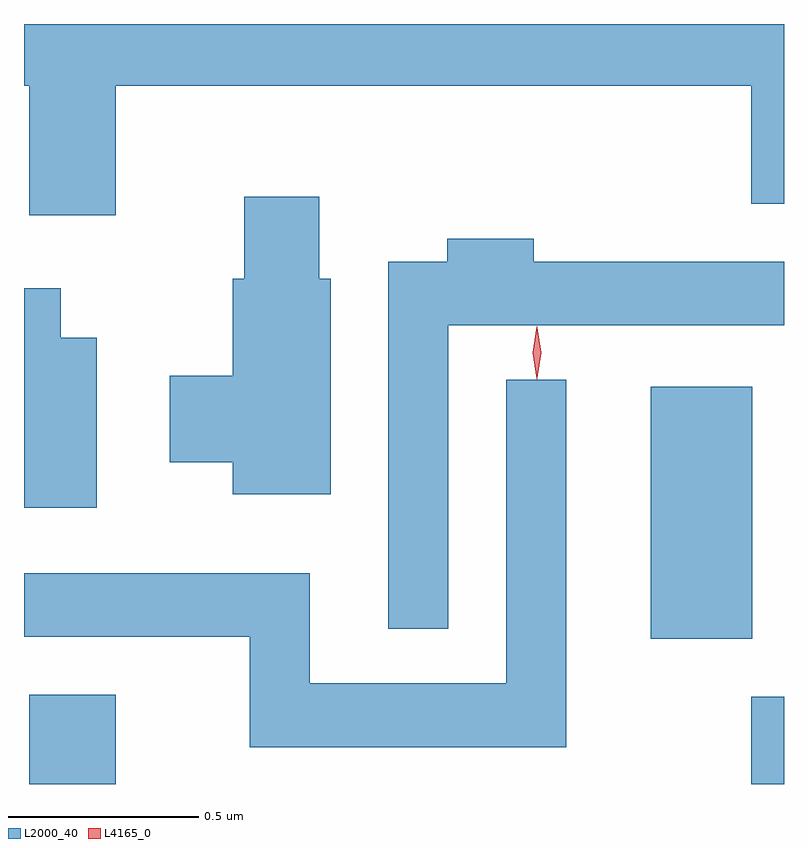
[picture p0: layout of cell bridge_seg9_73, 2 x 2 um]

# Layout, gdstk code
import gdstk
lib = gdstk.Library(unit=1e-6, precision=1e-09)
def R(c, l, rs):  # rectangles x0, y0, x1, y1
    for r in rs: c.add(gdstk.rectangle(r[:2], r[2:], *l))
def P(c, l, *ps):  # polygons
    for p in ps: c.add(gdstk.Polygon(p, *l))
L2000_40 = (2000, 40)
L4165_0 = (4165, 0)

bridge_seg9_73 = lib.new_cell('bridge_seg9_73')
R(bridge_seg9_73, L2000_40, [(1495.671,1945.579,1495.899,1945.814), (1497.571,1945.579,1497.657,1945.809), (1497.306,1945.961,1497.574,1946.624)])
P(bridge_seg9_73, L2000_40, [(1495.899,1947.416),(1497.571,1947.416),(1497.571,1947.106),(1497.657,1947.106),(1497.657,1947.579),(1495.657,1947.579),(1495.657,1947.416),(1495.671,1947.416),(1495.671,1947.076),(1495.899,1947.076)],
  [(1496.464,1946.909),(1496.434,1946.909),(1496.434,1947.124),(1496.236,1947.124),(1496.236,1946.909),(1496.206,1946.909),(1496.206,1946.654),(1496.041,1946.654),(1496.041,1946.426),(1496.206,1946.426),(1496.206,1946.341),(1496.464,1946.341)],
  [(1496.774,1946.786),(1497.657,1946.786),(1497.657,1946.954),(1496.999,1946.954),(1496.999,1947.014),(1496.771,1947.014),(1496.771,1946.954),(1496.616,1946.954),(1496.616,1945.988),(1496.774,1945.988)],
  [(1495.849,1946.754),(1495.754,1946.754),(1495.754,1946.884),(1495.657,1946.884),(1495.657,1946.306),(1495.849,1946.306)],
  [(1497.084,1946.643),(1496.926,1946.643),(1496.926,1945.844),(1496.409,1945.844),(1496.409,1946.134),(1495.657,1946.134),(1495.657,1945.966),(1496.251,1945.966),(1496.251,1945.676),(1497.084,1945.676)])
P(bridge_seg9_73, L4165_0, [(1497.006,1946.644),(1497.006,1946.645),(1496.996,1946.714),(1497.006,1946.782),(1497.006,1946.783),(1497.007,1946.782),(1497.016,1946.714),(1497.007,1946.645)],
  [(1497.007,1946.648),(1496.998,1946.714),(1497.007,1946.78),(1497.008,1946.781),(1497.008,1946.78),(1497.018,1946.714),(1497.008,1946.648),(1497.008,1946.648)])

lib.write_gds('bridge_seg9_73.gds')
